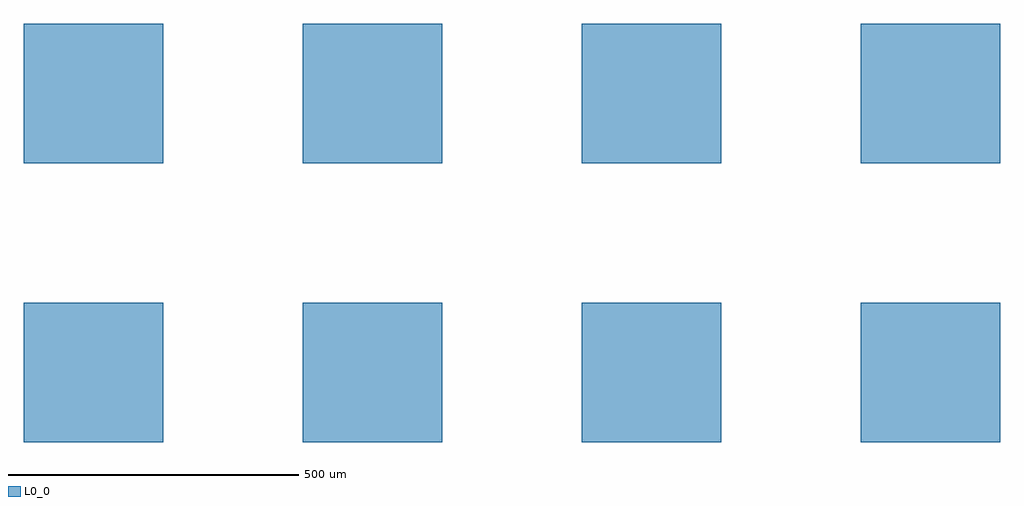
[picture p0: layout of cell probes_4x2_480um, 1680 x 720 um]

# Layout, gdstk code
import gdstk
lib = gdstk.Library(unit=1e-6, precision=1e-09)
def R(c, l, rs):  # rectangles x0, y0, x1, y1
    for r in rs: c.add(gdstk.rectangle(r[:2], r[2:], *l))
def A(c, l, x, y, w, h, nx, ny, dx, dy):  # array of equal rectangles
    R(c, l, [(x+i*dx, y+j*dy, x+i*dx+w, y+j*dy+h) for i in range(nx) for j in range(ny)])
L0_0 = (0, 0)

probes_4x2_480um = lib.new_cell('probes_4x2_480um')
A(probes_4x2_480um, L0_0, -840, -360, 240, 240, 4, 2, 480, 480)

lib.write_gds('probes_4x2_480um.gds')
